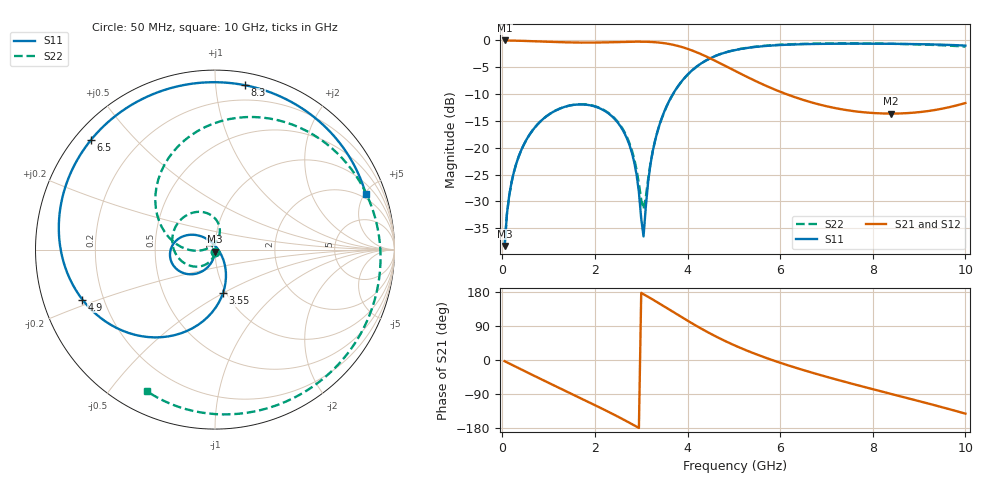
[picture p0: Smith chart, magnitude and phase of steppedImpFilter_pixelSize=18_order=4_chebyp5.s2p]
! freq	dB(S11)	phase(S11)	dB(S12)	phase(S12)
!  dB(S21)	phase(S21)	dB(S22)	phase(S22)
!S-par simulation data
#  GHz  S  DB  R 50
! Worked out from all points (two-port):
!   200 points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, 50 MHz to 10 GHz, reference 50 ohm
!   highest |S21| = 0.00 dB at 50 MHz (marker M1); lowest = -13.6 dB at 8.4 GHz (marker M2)
!   |S21| within 3 dB of the highest: start of sweep to 4.408 GHz
!   lowest |S11| = -38.3 dB at 50 MHz (marker M3), VSWR 1.02, Z = 49.9 - j1.21 ohm
!   |S11| at or under -10 dB: start of sweep to 3.685 GHz
!   |S22| runs from -38.3 to -0.5 dB; largest |S21 - S12| = 0
!   S11 on the Smith chart (normalised r, x): 50 MHz: 1.00, -0.02; 3.55 GHz: 0.97, -0.50; 4.9 GHz: 0.12, -0.18; 6.5 GHz: 0.05, +0.38; 8.3 GHz: 0.09, +1.19; 10 GHz: 1.63, +5.09
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0.05  -38.33 -92.2  -0.00 -3.1  -0.00 -3.1  -38.34 -93.6
0.1  -32.34 -94.8  -0.01 -6.2  -0.01 -6.2  -32.36 -97.5
0.2  -26.42 -99.9  -0.03 -12.3  -0.03 -12.3  -26.44 -105.3
0.5  -18.83 -114.4  -0.10 -30.4  -0.10 -30.4  -18.84 -127.8
1.15  -13.07 -144.6  -0.30 -69.1  -0.30 -69.1  -13.07 -175.1
1.75  -11.93 -171.8  -0.40 -104.2  -0.40 -104.2  -11.90 142.0
2.65  -17.49 142.5  -0.27 -159.3  -0.27 -159.3  -17.27 80.4
2.9  -25.04 120.6  -0.23 -175.9  -0.23 -175.9  -24.13 74.7
3.05  -36.52 23.2  -0.24 173.7  -0.24 173.7  -31.45 129.9
3.2  -23.05 -49.8  -0.28 163.1  -0.28 163.1  -22.90 -177.3
3.4  -15.56 -68.5  -0.41 148.5  -0.41 148.5  -15.62 178.3
3.55  -12.23 -79.3  -0.58 137.4  -0.58 137.4  -12.29 168.4
4.15  -5.19 -118.4  -2.04 93.0  -2.04 93.0  -5.21 121.0
4.9  -2.05 -159.3  -5.12 45.0  -5.12 45.0  -2.03 67.3
5.05  -1.76 -166.3  -5.78 36.8  -5.78 36.8  -1.73 58.0
5.75  -0.99 164.9  -8.66 3.2  -8.66 3.2  -0.94 20.5
6.5  -0.70 138.4  -11.09 -26.6  -11.09 -26.6  -0.64 -11.6
6.7  -0.66 131.8  -11.60 -33.8  -11.60 -33.8  -0.60 -19.1
8.3  -0.62 79.7  -13.62 -86.5  -13.62 -86.5  -0.61 -69.5
8.35  -0.62 78.1  -13.63 -88.0  -13.63 -88.0  -0.62 -70.9
8.4  -0.63 76.4  -13.63 -89.6  -13.63 -89.6  -0.62 -72.3
10  -0.96 20.3  -11.67 -141.6  -11.67 -141.6  -1.16 -115.5
